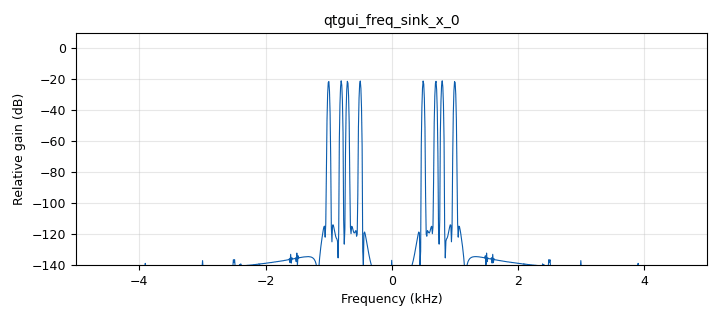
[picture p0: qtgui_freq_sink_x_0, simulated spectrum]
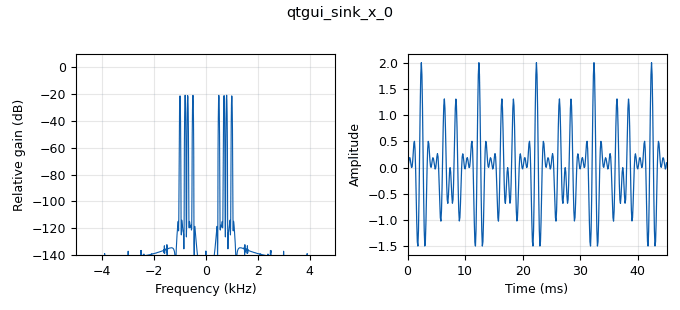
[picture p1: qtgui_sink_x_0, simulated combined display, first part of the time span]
<?xml version='1.0' encoding='utf-8'?>
<?grc format='1' created='3.7.9'?>
<flow_graph>
<block>
<key>options</key>
<param><key>id</key><value>top_block</value></param>
<param><key>category</key><value>Custom</value></param>
<param><key>generate_options</key><value>qt_gui</value></param>
</block>
<block>
<key>variable</key>
<param><key>id</key><value>samp_rate</value></param>
<param><key>value</key><value>10e3</value></param>
</block>
<block>
<key>analog_sig_source_x</key>
<param><key>id</key><value>analog_sig_source_x_0</value></param>
<param><key>amp</key><value>500e-3</value></param>
<param><key>freq</key><value>1000</value></param>
<param><key>offset</key><value>0</value></param>
<param><key>type</key><value>float</value></param>
<param><key>samp_rate</key><value>samp_rate</value></param>
<param><key>waveform</key><value>analog.GR_COS_WAVE</value></param>
</block>
<block>
<key>analog_sig_source_x</key>
<param><key>id</key><value>analog_sig_source_x_0_0</value></param>
<param><key>amp</key><value>500e-3</value></param>
<param><key>freq</key><value>800</value></param>
<param><key>offset</key><value>0</value></param>
<param><key>type</key><value>float</value></param>
<param><key>samp_rate</key><value>samp_rate</value></param>
<param><key>waveform</key><value>analog.GR_COS_WAVE</value></param>
</block>
<block>
<key>analog_sig_source_x</key>
<param><key>id</key><value>analog_sig_source_x_0_0_0</value></param>
<param><key>amp</key><value>500e-3</value></param>
<param><key>freq</key><value>500</value></param>
<param><key>offset</key><value>0</value></param>
<param><key>type</key><value>float</value></param>
<param><key>samp_rate</key><value>samp_rate</value></param>
<param><key>waveform</key><value>analog.GR_COS_WAVE</value></param>
</block>
<block>
<key>analog_sig_source_x</key>
<param><key>id</key><value>analog_sig_source_x_0_1</value></param>
<param><key>amp</key><value>500e-3</value></param>
<param><key>freq</key><value>700</value></param>
<param><key>offset</key><value>0</value></param>
<param><key>type</key><value>float</value></param>
<param><key>samp_rate</key><value>samp_rate</value></param>
<param><key>waveform</key><value>analog.GR_COS_WAVE</value></param>
</block>
<block>
<key>audio_sink</key>
<param><key>id</key><value>audio_sink_0</value></param>
<param><key>samp_rate</key><value>48000</value></param>
</block>
<block>
<key>blocks_add_xx</key>
<param><key>id</key><value>blocks_add_xx_0</value></param>
<param><key>type</key><value>float</value></param>
</block>
<block>
<key>blocks_add_xx</key>
<param><key>id</key><value>blocks_add_xx_0_0</value></param>
<param><key>type</key><value>float</value></param>
</block>
<block>
<key>blocks_add_xx</key>
<param><key>id</key><value>blocks_add_xx_1</value></param>
<param><key>type</key><value>float</value></param>
</block>
<block>
<key>blocks_throttle</key>
<param><key>id</key><value>blocks_throttle_0</value></param>
<param><key>samples_per_second</key><value>samp_rate</value></param>
<param><key>type</key><value>float</value></param>
</block>
<block>
<key>blocks_throttle</key>
<param><key>id</key><value>blocks_throttle_0_0</value></param>
<param><key>samples_per_second</key><value>samp_rate</value></param>
<param><key>type</key><value>float</value></param>
</block>
<block>
<key>qtgui_freq_sink_x</key>
<param><key>id</key><value>qtgui_freq_sink_x_0</value></param>
<param><key>bw</key><value>samp_rate</value></param>
<param><key>fc</key><value>0</value></param>
<param><key>fftsize</key><value>1024</value></param>
<param><key>showports</key><value>True</value></param>
<param><key>type</key><value>float</value></param>
<param><key>wintype</key><value>firdes.WIN_BLACKMAN_hARRIS</value></param>
</block>
<block>
<key>qtgui_sink_x</key>
<param><key>id</key><value>qtgui_sink_x_0</value></param>
<param><key>bw</key><value>samp_rate</value></param>
<param><key>fc</key><value>0</value></param>
<param><key>freqchangevar</key><value>None</value></param>
<param><key>fftsize</key><value>1024</value></param>
<param><key>showports</key><value>True</value></param>
<param><key>type</key><value>float</value></param>
<param><key>wintype</key><value>firdes.WIN_BLACKMAN_hARRIS</value></param>
</block>
<connection><source_block_id>analog_sig_source_x_0</source_block_id><sink_block_id>blocks_add_xx_0</sink_block_id><source_key>0</source_key><sink_key>0</sink_key></connection>
<connection><source_block_id>analog_sig_source_x_0_0</source_block_id><sink_block_id>blocks_add_xx_0</sink_block_id><source_key>0</source_key><sink_key>1</sink_key></connection>
<connection><source_block_id>analog_sig_source_x_0_0_0</source_block_id><sink_block_id>blocks_add_xx_0_0</sink_block_id><source_key>0</source_key><sink_key>1</sink_key></connection>
<connection><source_block_id>analog_sig_source_x_0_1</source_block_id><sink_block_id>blocks_add_xx_0_0</sink_block_id><source_key>0</source_key><sink_key>0</sink_key></connection>
<connection><source_block_id>blocks_add_xx_0</source_block_id><sink_block_id>blocks_throttle_0</sink_block_id><source_key>0</source_key><sink_key>0</sink_key></connection>
<connection><source_block_id>blocks_add_xx_0_0</source_block_id><sink_block_id>blocks_throttle_0_0</sink_block_id><source_key>0</source_key><sink_key>0</sink_key></connection>
<connection><source_block_id>blocks_add_xx_1</source_block_id><sink_block_id>audio_sink_0</sink_block_id><source_key>0</source_key><sink_key>0</sink_key></connection>
<connection><source_block_id>blocks_add_xx_1</source_block_id><sink_block_id>qtgui_freq_sink_x_0</sink_block_id><source_key>0</source_key><sink_key>0</sink_key></connection>
<connection><source_block_id>blocks_add_xx_1</source_block_id><sink_block_id>qtgui_sink_x_0</sink_block_id><source_key>0</source_key><sink_key>0</sink_key></connection>
<connection><source_block_id>blocks_throttle_0</source_block_id><sink_block_id>blocks_add_xx_1</sink_block_id><source_key>0</source_key><sink_key>0</sink_key></connection>
<connection><source_block_id>blocks_throttle_0_0</source_block_id><sink_block_id>blocks_add_xx_1</sink_block_id><source_key>0</source_key><sink_key>1</sink_key></connection>
</flow_graph>
